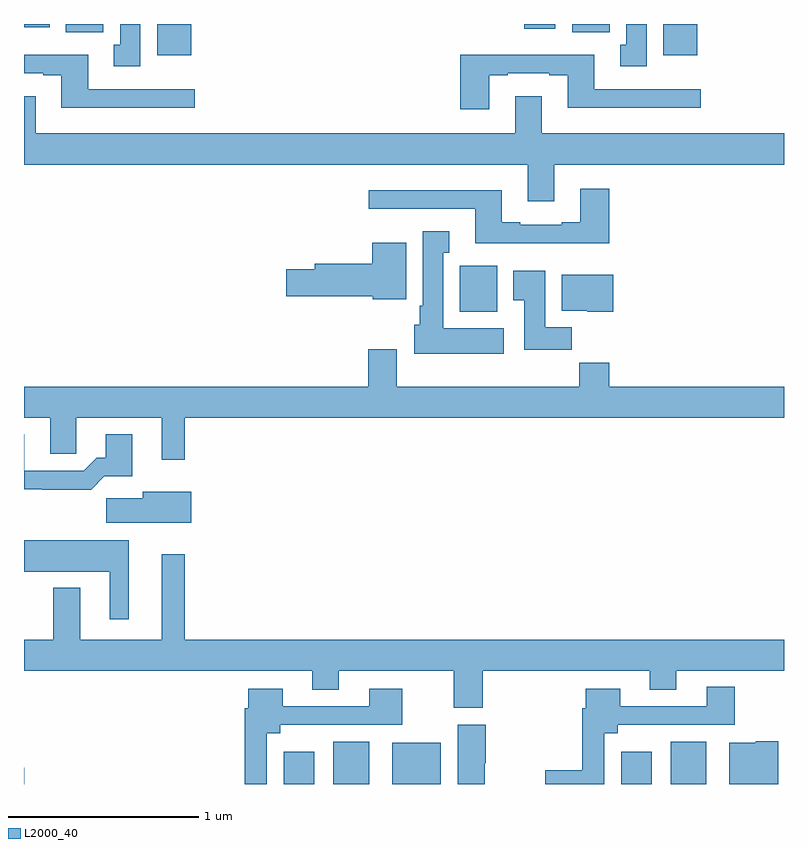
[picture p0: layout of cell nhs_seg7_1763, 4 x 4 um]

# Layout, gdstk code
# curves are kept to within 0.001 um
import gdstk
lib = gdstk.Library(unit=1e-6, precision=1e-09)
def R(c, l, rs):  # rectangles x0, y0, x1, y1
    for r in rs: c.add(gdstk.rectangle(r[:2], r[2:], *l))
def P(c, l, *ps):  # polygons
    for p in ps: c.add(gdstk.Polygon(p, *l))
L2000_40 = (2000, 40)

nhs_seg7_1763 = lib.new_cell('nhs_seg7_1763')
R(nhs_seg7_1763, L2000_40, [(231,1020,231.001,1020.086), (232.367,1020,232.528,1020.169), (232.628,1020,232.816,1020.223), (232.937,1020,233.194,1020.217), (234.143,1020,234.304,1020.169), (234.404,1020,234.592,1020.223), (233.294,1022.486,233.491,1022.728), (231.701,1023.836,231.88,1024), (234.365,1023.836,234.544,1024), (231.221,1023.956,231.418,1024), (233.885,1023.956,234.082,1024), (233.633,1023.974,233.797,1024), (231,1023.984,231.136,1024)])
P(nhs_seg7_1763, L2000_40, [(231.613,1024),(231.506,1024),(231.506,1023.89),(231.473,1023.89),(231.473,1023.777),(231.613,1023.777)],
  [(234.277,1024),(234.17,1024),(234.17,1023.89),(234.137,1023.89),(234.137,1023.777),(234.277,1023.777)],
  [(231.898,1023.657),(231.337,1023.657),(231.337,1023.838),(231,1023.838),(231,1023.741),(231.101,1023.741),(231.101,1023.729),(231.197,1023.729),(231.197,1023.56),(231.898,1023.56)],
  [(233.449,1023.729),(233.545,1023.729),(233.545,1023.741),(233.765,1023.741),(233.765,1023.729),(233.861,1023.729),(233.861,1023.56),(234.562,1023.56),(234.562,1023.657),(234.001,1023.657),(234.001,1023.838),(233.297,1023.838),(233.297,1023.552),(233.449,1023.552)],
  [(233.791,1023.26),(235,1023.26),(235,1023.424),(233.725,1023.424),(233.725,1023.619),(233.585,1023.619),(233.585,1023.424),(231.061,1023.424),(231.061,1023.619),(231,1023.619),(231,1023.26),(233.651,1023.26),(233.651,1023.066),(233.791,1023.066)],
  [(234.08,1023.133),(233.927,1023.133),(233.927,1022.956),(233.831,1022.956),(233.831,1022.943),(233.611,1022.943),(233.611,1022.956),(233.515,1022.956),(233.515,1023.124),(232.815,1023.124),(232.815,1023.027),(233.375,1023.027),(233.375,1022.846),(234.08,1022.846)],
  [(233.524,1022.398),(233.206,1022.398),(233.206,1022.795),(233.239,1022.795),(233.239,1022.908),(233.099,1022.908),(233.099,1022.518),(233.084,1022.518),(233.084,1022.418),(233.054,1022.418),(233.054,1022.264),(233.524,1022.264)],
  [(233.011,1022.848),(232.832,1022.848),(232.832,1022.738),(232.529,1022.738),(232.529,1022.708),(232.38,1022.708),(232.38,1022.566),(232.836,1022.566),(232.836,1022.552),(233.011,1022.552)],
  [(233.882,1022.404),(233.743,1022.404),(233.743,1022.701),(233.576,1022.701),(233.576,1022.545),(233.633,1022.545),(233.633,1022.286),(233.882,1022.286)],
  [(234.1,1022.68),(233.831,1022.68),(233.831,1022.492),(233.964,1022.492),(233.964,1022.486),(234.1,1022.486)],
  [(231.847,1021.928),(235,1021.928),(235,1022.092),(234.08,1022.092),(234.08,1022.216),(233.923,1022.216),(233.923,1022.092),(232.963,1022.092),(232.963,1022.287),(232.811,1022.287),(232.811,1022.092),(231,1022.092),(231,1021.928),(231.137,1021.928),(231.137,1021.738),(231.276,1021.738),(231.276,1021.928),(231.725,1021.928),(231.725,1021.707),(231.847,1021.707)],
  [(231.422,1021.619),(231.571,1021.619),(231.571,1021.84),(231.431,1021.84),(231.431,1021.717),(231.382,1021.717),(231.315,1021.65),(231.001,1021.65),(231,1021.84),(231,1021.552),(231.097,1021.552),(231.097,1021.55),(231.353,1021.55)],
  [(231.88,1021.537),(231.626,1021.537),(231.626,1021.505),(231.432,1021.505),(231.432,1021.376),(231.88,1021.376)],
  [(231.55,1021.282),(231,1021.282),(231,1021.118),(231.452,1021.118),(231.452,1020.867),(231.55,1020.867)],
  [(231.725,1021.21),(231.725,1020.76),(231.295,1020.76),(231.295,1021.033),(231.155,1021.033),(231.155,1020.76),(231,1020.76),(231,1020.596),(232.517,1020.596),(232.517,1020.497),(232.657,1020.497),(232.657,1020.596),(233.261,1020.596),(233.261,1020.402),(233.414,1020.402),(233.414,1020.596),(234.293,1020.596),(234.293,1020.497),(234.433,1020.497),(234.433,1020.596),(235,1020.596),(235,1020.76),(231.847,1020.76),(231.847,1021.21)],
  [(234.054,1020.266),(234.124,1020.266),(234.124,1020.312),(234.741,1020.312),(234.741,1020.511),(234.593,1020.511),(234.593,1020.408),(234.139,1020.408),(234.139,1020.502),(233.957,1020.502),(233.957,1020.398),(233.938,1020.398),(233.938,1020.073),(233.744,1020.073),(233.744,1020),(234.054,1020)],
  [(232.278,1020.266),(232.348,1020.266),(232.348,1020.312),(232.99,1020.312),(232.99,1020.502),(232.817,1020.502),(232.817,1020.408),(232.363,1020.408),(232.363,1020.502),(232.181,1020.502),(232.181,1020.398),(232.162,1020.398),(232.162,1020),(232.278,1020)],
  [(233.424,1020.109),(233.429,1020.109),(233.429,1020.313),(233.282,1020.313),(233.282,1020),(233.424,1020)],
  [(234.97,1020.226),(234.852,1020.226),(234.852,1020.217),(234.713,1020.217),(234.713,1020),(234.97,1020)])

lib.write_gds('nhs_seg7_1763.gds')
